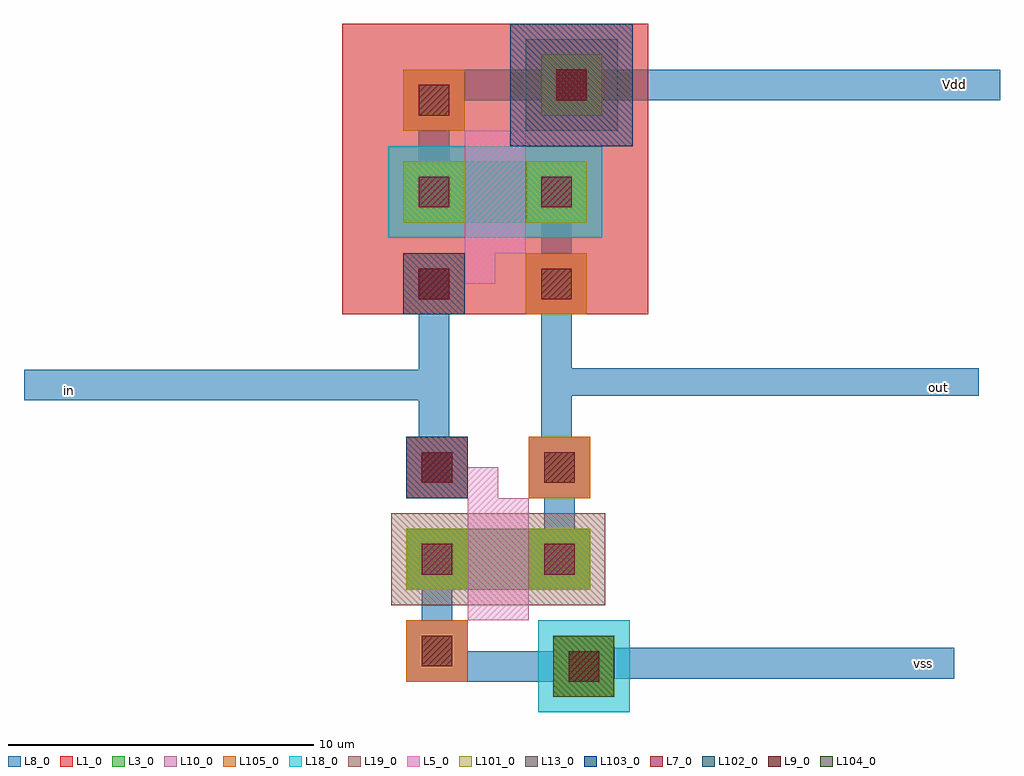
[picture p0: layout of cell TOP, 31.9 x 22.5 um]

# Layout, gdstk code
import gdstk
lib = gdstk.Library(unit=1e-6, precision=1e-07)
def R(c, l, rs):  # rectangles x0, y0, x1, y1
    for r in rs: c.add(gdstk.rectangle(r[:2], r[2:], *l))
L1_0 = (1, 0)
L3_0 = (3, 0)
L5_0 = (5, 0)
L7_0 = (7, 0)
L8_0 = (8, 0)
L9_0 = (9, 0)
L10_0 = (10, 0)
L13_0 = (13, 0)
L18_0 = (18, 0)
L19_0 = (19, 0)
L101_0 = (101, 0)
L102_0 = (102, 0)
L103_0 = (103, 0)
L104_0 = (104, 0)
L105_0 = (105, 0)

dcont = lib.new_cell('dcont')
R(dcont, L3_0, [(-1,-1,1,1)])
R(dcont, L7_0, [(-0.5,-0.5,0.5,0.5)])
R(dcont, L8_0, [(-1,-1,1,1)])
R(dcont, L13_0, [(-0.5,-0.5,0.5,0.5)])
R(dcont, L101_0, [(-1,-1,1,1)])

pcont = lib.new_cell('pcont')
R(pcont, L5_0, [(-1,-1,1,1)])
R(pcont, L7_0, [(-0.5,-0.5,0.5,0.5)])
R(pcont, L8_0, [(-1,-1,1,1)])
R(pcont, L13_0, [(-0.5,-0.5,0.5,0.5)])
R(pcont, L102_0, [(-1,-1,1,1)])

via = lib.new_cell('Via')
R(via, L8_0, [(-1,-1,1,1)])
R(via, L9_0, [(-0.5,-0.5,0.5,0.5)])
R(via, L10_0, [(-1,-1,1,1)])
R(via, L13_0, [(-0.5,-0.5,0.5,0.5)])
R(via, L105_0, [(-1,-1,1,1)])

dcont1 = lib.new_cell('dcont1')
R(dcont1, L3_0, [(-1,-1,1,1)])
R(dcont1, L7_0, [(-0.5,-0.5,0.5,0.5)])
R(dcont1, L8_0, [(-1,-1,1,1)])
R(dcont1, L13_0, [(-0.5,-0.5,0.5,0.5)])
R(dcont1, L101_0, [(-1,-1,1,1)])

nsubcont = lib.new_cell('nsubcont')
R(nsubcont, L1_0, [(-2,-2,2,2)])
R(nsubcont, L19_0, [(-1.5,-1.5,1.5,1.5)])
R(nsubcont, L103_0, [(-2,-2,2,2)])
nsubcont.add(gdstk.Reference(dcont1, (0,0)))

pch = lib.new_cell('Pch')
R(pch, L1_0, [(-2,0,8,9.5)])
R(pch, L3_0, [(0,3,6,5)])
R(pch, L18_0, [(-0.5,2.5,6.5,5.5)])
pch.add(gdstk.FlexPath([(1,3),(1,5)], 2, ends="flush", simple_path=True, layer=8, datatype=0))  # L8_0
pch.add(gdstk.FlexPath([(5,3),(5,5)], 2, ends="flush", simple_path=True, layer=8, datatype=0))  # L8_0
pch.add(gdstk.FlexPath([(1,4),(1,7)], 1, ends="flush", simple_path=True, layer=8, datatype=0))  # L8_0
pch.add(gdstk.FlexPath([(5,1),(5,4)], 1, ends="flush", simple_path=True, layer=8, datatype=0))  # L8_0
pch.add(gdstk.FlexPath([(3,3),(3,5)], 2, ends="extended", simple_path=True, layer=5, datatype=0))  # L5_0
pch.add(gdstk.FlexPath([(1,1.5),(2.5,1.5),(2.5,2)], 1, ends="flush", simple_path=True, layer=5, datatype=0))  # L5_0
pch.add(gdstk.Reference(dcont, (1,4)))
pch.add(gdstk.Reference(dcont, (5,4)))
pch.add(gdstk.Reference(pcont, (1,1)))
pch.add(gdstk.Reference(via, (1,1)))
pch.add(gdstk.Reference(via, (1,7)))
pch.add(gdstk.Reference(via, (5,1)))
pch.add(gdstk.Reference(nsubcont, (5.5,7.5)))
pch.add(gdstk.Reference(via, (5.5,7.5)))

psubcont = lib.new_cell('psubcont')
R(psubcont, L18_0, [(-1.5,-1.5,1.5,1.5)])
R(psubcont, L104_0, [(-1,-1,1,1)])
psubcont.add(gdstk.Reference(dcont1, (0,0)))

nch_1 = lib.new_cell('Nch$1')
R(nch_1, L3_0, [(0,3,6,5)])
R(nch_1, L19_0, [(-0.5,2.5,6.5,5.5)])
nch_1.add(gdstk.FlexPath([(1,3),(1,5)], 2, ends="flush", simple_path=True, layer=8, datatype=0))  # L8_0
nch_1.add(gdstk.FlexPath([(5,3),(5,5)], 2, ends="flush", simple_path=True, layer=8, datatype=0))  # L8_0
nch_1.add(gdstk.FlexPath([(1,1),(1,4)], 1, ends="flush", simple_path=True, layer=8, datatype=0))  # L8_0
nch_1.add(gdstk.FlexPath([(5,4),(5,7)], 1, ends="flush", simple_path=True, layer=8, datatype=0))  # L8_0
nch_1.add(gdstk.FlexPath([(3,3),(3,5)], 2, ends="extended", simple_path=True, layer=5, datatype=0))  # L5_0
nch_1.add(gdstk.FlexPath([(1,6.5),(2.5,6.5),(2.5,6)], 1, ends="flush", simple_path=True, layer=5, datatype=0))  # L5_0
nch_1.add(gdstk.Reference(dcont, (1,4)))
nch_1.add(gdstk.Reference(dcont, (5,4)))
nch_1.add(gdstk.Reference(pcont, (1,7)))
nch_1.add(gdstk.Reference(via, (1,7)))
nch_1.add(gdstk.Reference(via, (1,1)))
nch_1.add(gdstk.Reference(via, (5,7)))
nch_1.add(gdstk.Reference(psubcont, (5.8,0.5)))
nch_1.add(gdstk.Reference(via, (5.8,0.5)))

top = lib.new_cell('TOP')
top.add(gdstk.FlexPath([(-34.4,-21.1),(-34.4,-21.5),(-29.1,-21.5),(-29.1,-21.5),(-29.1,-21.5)], 1, ends="flush", simple_path=True, layer=8, datatype=0))  # L8_0
top.add(gdstk.FlexPath([(-29.6,-21.4),(-17.5,-21.4)], 1, ends="flush", simple_path=True, layer=8, datatype=0))  # L8_0
top.add(gdstk.FlexPath([(-34.5,-9),(-34.5,-15.4)], 1, ends="flush", simple_path=True, layer=8, datatype=0))  # L8_0
top.add(gdstk.FlexPath([(-30.5,-8.9),(-30.5,-15.5)], 1, ends="flush", simple_path=True, layer=8, datatype=0))  # L8_0
top.add(gdstk.FlexPath([(-30.5,-12.2),(-16.7,-12.2)], 0.9, ends="flush", simple_path=True, layer=8, datatype=0))  # L8_0
top.add(gdstk.FlexPath([(-34.5,-12.3),(-47.9,-12.3)], 1, ends="flush", simple_path=True, layer=8, datatype=0))  # L8_0
top.add(gdstk.FlexPath([(-30,-2.5),(-16,-2.5)], 1, ends="flush", simple_path=True, layer=8, datatype=0))  # L8_0
top.add(gdstk.FlexPath([(-30,-2.5),(-34.5,-2.5)], 1, ends="flush", simple_path=True, layer=8, datatype=0))  # L8_0
top.add(gdstk.Reference(pch, (-35.5,-10)))
top.add(gdstk.Reference(nch_1, (-35.4,-22)))
top.add(gdstk.Label('out', (-18,-12.4), layer=8, texttype=0))
top.add(gdstk.Label('in', (-46.4,-12.5), layer=8, texttype=0))
top.add(gdstk.Label('vss', (-18.5,-21.4), layer=8, texttype=0))
top.add(gdstk.Label('Vdd', (-17.5,-2.5), layer=8, texttype=0))

lib.write_gds('TOP.gds')
